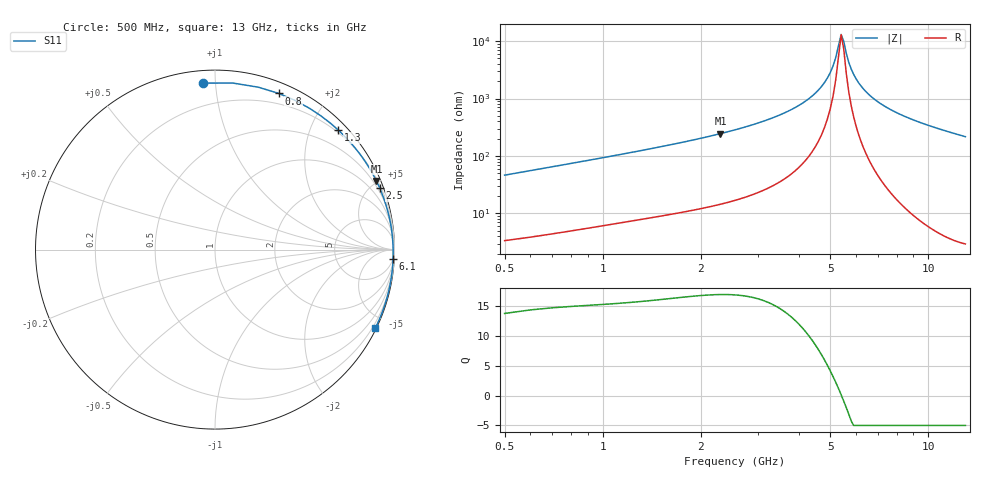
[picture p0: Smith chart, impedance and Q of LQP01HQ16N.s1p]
! Touchstone file exported from HFSS 2022.2.2 for SMD LQP01HQ16N
!  Project:  LQP01HQ16N.aedt
!  Generated:  May 08, 2024
!  Delta S:  0.002
!  Tetrahedron Count: 22012
# GHz S MA R 50.000000
! Terminal data exported
! Port[1] = Port_L
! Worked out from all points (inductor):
!   126 points, 500 MHz to 13 GHz, reference 50 ohm
!   read as one part to ground: L = 14.5 nH near 500 MHz
!   highest Q = 16.9 at 2.3 GHz (marker M1), where L = 17 nH
!   self-resonance near 5.4 GHz
!   S11 on the Smith chart (normalised r, x): 500 MHz: 0.07, +0.93; 800 MHz: 0.10, +1.48; 1.3 GHz: 0.16, +2.46; 2.5 GHz: 0.33, +5.53; 6.1 GHz: 5, -38; 13 GHz: 0.06, -4.34
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0.5  0.9302 94.2
0.6  0.9332 83.8
0.7  0.9365 75.1
0.8  0.94 67.8
0.9  0.9435 61.6
1  0.947 56.3
1.1  0.9505 51.7
1.2  0.9537 47.7
1.3  0.9568 44.1
1.4  0.9596 41.0
1.5  0.9623 38.2
1.7  0.967 33.3
1.9  0.971 29.3
2.1  0.9744 25.9
2.3  0.9772 23.0
2.5  0.9796 20.4
2.8  0.9825 17.1
3.1  0.9847 14.2
3.4  0.9865 11.7
3.7  0.988 9.5
4.4  0.9904 5.1
5.2  0.9921 1.0
6.1  0.9934 -3.0
6.8  0.994 -5.7
8.4  0.9948 -11.4
9.9  0.9951 -16.3
11.5  0.9949 -21.3
13  0.9941 -25.9
